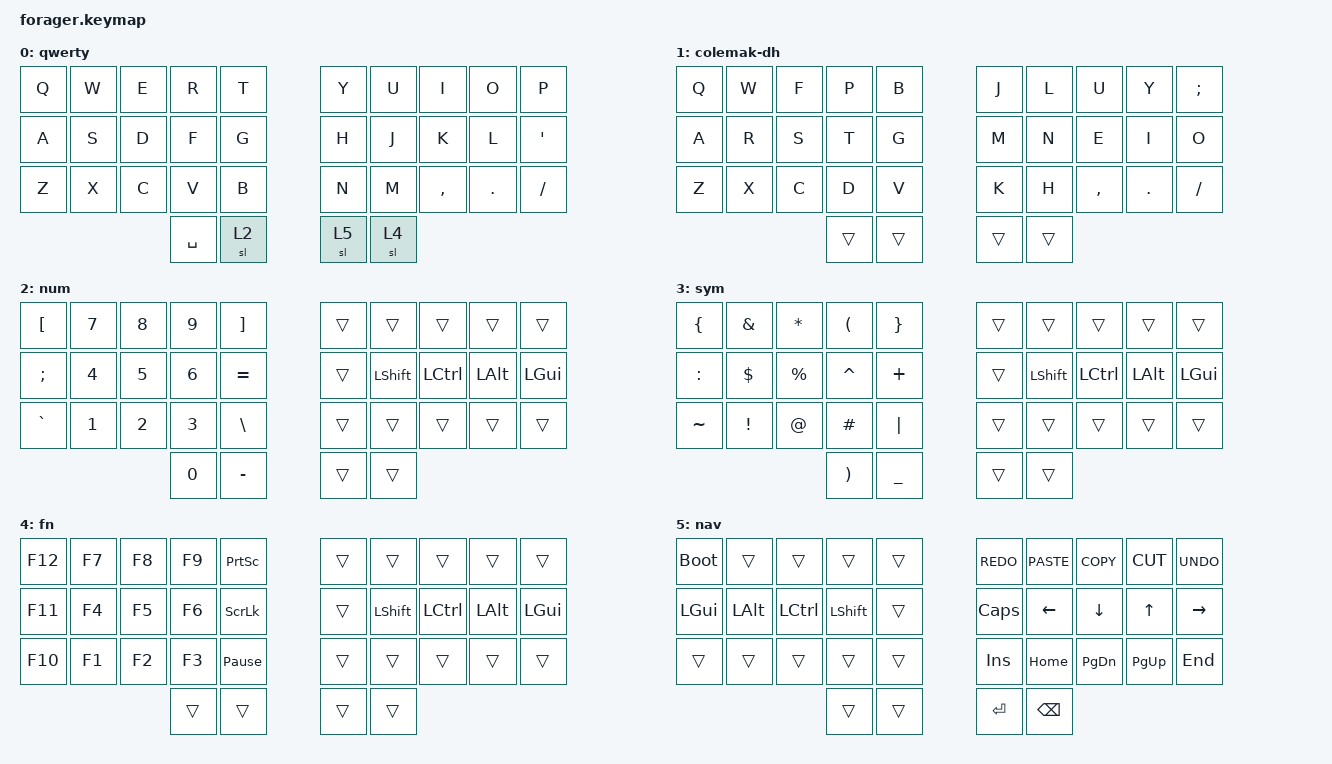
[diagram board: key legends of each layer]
#include <behaviors.dtsi>
#include <dt-bindings/zmk/keys.h>

/ {
    combos {
        compatible = "zmk,combos";

        del {
            bindings = <&kp DEL>;
            key-positions = <32 33>;
        };

        dot {
            bindings = <&kp DOT>;
            key-positions = <30 31>;
            layers = <2>;
        };

        enter {
            bindings = <&kp ENTER>;
            key-positions = <16 17>;
        };

        backspace {
            bindings = <&kp BACKSPACE>;
            key-positions = <6 7>;
        };

        tab {
            bindings = <&kp TAB>;
            key-positions = <12 13>;
        };

        esc {
            bindings = <&kp ESCAPE>;
            key-positions = <2 3>;
        };
    };

    behaviors {
        auto_shift: auto_shift {
            compatible = "zmk,behavior-hold-tap";
            label = "AUTO_SHIFT";
            bindings = <&mt>, <&kp>;

            #binding-cells = <2>;
            tapping-term-ms = <50>;
        };

        caps_number: caps_number {
            compatible = "zmk,behavior-caps-word";
            label = "CAPS_NUMBER";
            #binding-cells = <0>;
            continue-list = <NUMBER_1 NUMBER_2 NUMBER_3 NUMBER_4 NUMBER_5 NUMBER_6 NUMBER_7 NUMBER_8 NUMBER_9 NUMBER_0 MINUS EQUAL PLUS FSLH DOT>;
        };
    };

    keymap {
        compatible = "zmk,keymap";

        qwerty {
            bindings = <
&kp Q  &kp W  &kp E  &kp R      &kp T    &kp Y  &kp U  &kp I      &kp O    &kp P
&kp A  &kp S  &kp D  &kp F      &kp G    &kp H  &kp J  &kp K      &kp L    &kp SQT
&kp Z  &kp X  &kp C  &kp V      &kp B    &kp N  &kp M  &kp COMMA  &kp DOT  &kp FSLH
                     &kp SPACE  &sl 2    &sl 5  &sl 4
            >;

            label = "qwerty";
        };

        colemak-dh {
            bindings = <
&kp Q  &kp W  &kp F  &kp P   &kp B     &kp J   &kp L   &kp U      &kp Y    &kp SEMI
&kp A  &kp R  &kp S  &kp T   &kp G     &kp M   &kp N   &kp E      &kp I    &kp O
&kp Z  &kp X  &kp C  &kp D   &kp V     &kp K   &kp H   &kp COMMA  &kp DOT  &kp FSLH
                     &trans  &trans    &trans  &trans
            >;
        };

        num {
            bindings = <
&kp LEFT_BRACKET  &kp N7  &kp N8  &kp N9  &kp RIGHT_BRACKET    &trans  &trans     &trans     &trans    &trans
&kp SEMI          &kp N4  &kp N5  &kp N6  &kp EQUAL            &trans  &kp LSHFT  &kp LCTRL  &kp LALT  &kp LGUI
&kp GRAVE         &kp N1  &kp N2  &kp N3  &kp BSLH             &trans  &trans     &trans     &trans    &trans
                                  &kp N0  &kp MINUS            &trans  &trans
            >;
        };

        sym {
            bindings = <
&kp LEFT_BRACE  &kp AMPS  &kp STAR   &kp LPAR   &kp RBRC     &trans  &trans     &trans     &trans    &trans
&kp COLON       &kp DLLR  &kp PRCNT  &kp CARET  &kp PLUS     &trans  &kp LSHFT  &kp LCTRL  &kp LALT  &kp LGUI
&kp TILDE       &kp EXCL  &kp AT     &kp POUND  &kp PIPE     &trans  &trans     &trans     &trans    &trans
                                     &kp RPAR   &kp UNDER    &trans  &trans
            >;
        };

        fn {
            bindings = <
&kp F12  &kp F7  &kp F8  &kp F9  &kp PRINTSCREEN    &trans  &trans     &trans     &trans    &trans
&kp F11  &kp F4  &kp F5  &kp F6  &kp SCROLLLOCK     &trans  &kp LSHFT  &kp LCTRL  &kp LALT  &kp LGUI
&kp F10  &kp F1  &kp F2  &kp F3  &kp PAUSE_BREAK    &trans  &trans     &trans     &trans    &trans
                         &trans  &trans             &trans  &trans
            >;
        };

        nav {
            bindings = <
&bootloader  &trans        &trans     &trans     &trans    &kp K_REDO  &kp K_PASTE    &kp K_COPY  &kp K_CUT  &kp K_UNDO
&kp LGUI     &kp LEFT_ALT  &kp LCTRL  &kp LSHFT  &trans    &kp CAPS    &kp LEFT       &kp DOWN    &kp UP     &kp RIGHT
&trans       &trans        &trans     &trans     &trans    &kp INSERT  &kp HOME       &kp PG_DN   &kp PG_UP  &kp END
                                      &trans     &trans    &kp RETURN  &kp BACKSPACE
            >;
        };
    };
};
